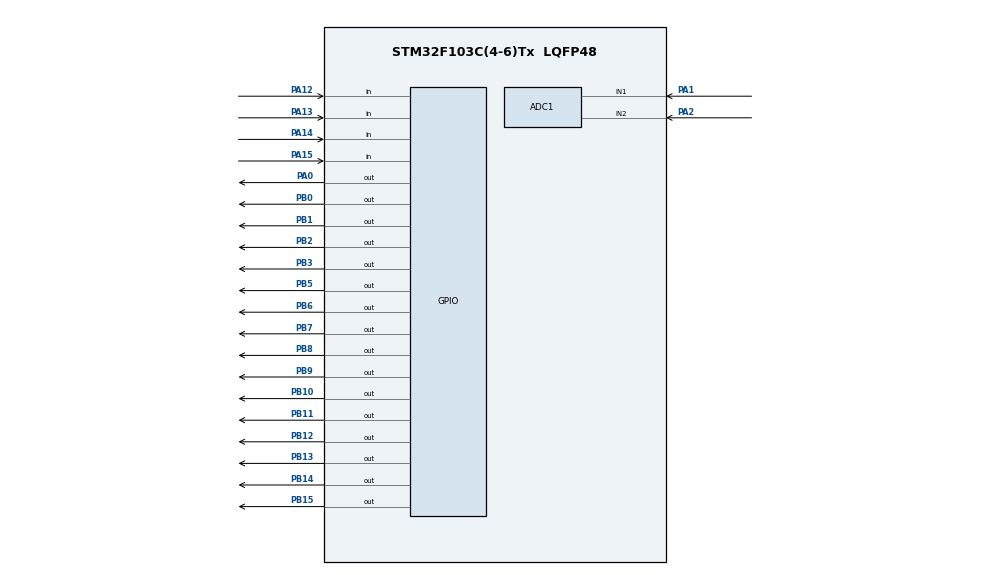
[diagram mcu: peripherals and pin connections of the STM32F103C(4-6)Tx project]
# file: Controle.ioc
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ADC1.Channel-0\#ChannelRegularConversion=ADC_CHANNEL_1
ADC1.Channel-1\#ChannelRegularConversion=ADC_CHANNEL_2
ADC1.ContinuousConvMode=ENABLE
ADC1.NbrOfConversion=2
ADC1.NbrOfConversionFlag=1
ADC1.Rank-0\#ChannelRegularConversion=1
ADC1.Rank-1\#ChannelRegularConversion=2
ADC1.SamplingTime-0\#ChannelRegularConversion=ADC_SAMPLETIME_1CYCLE_5
ADC1.SamplingTime-1\#ChannelRegularConversion=ADC_SAMPLETIME_1CYCLE_5
ADC1.master=1
Mcu.Family=STM32F1
Mcu.Name=STM32F103C(4-6)Tx
Mcu.Package=LQFP48
NVIC.PriorityGroup=NVIC_PRIORITYGROUP_4
PA0-WKUP.Signal=GPIO_Output
PA1.Signal=ADCx_IN1
PA12.Signal=GPIO_Input
PA13.Signal=GPIO_Input
PA14.Signal=GPIO_Input
PA15.Signal=GPIO_Input
PA2.Signal=ADCx_IN2
PB0.Signal=GPIO_Output
PB1.Signal=GPIO_Output
PB10.Signal=GPIO_Output
PB11.Signal=GPIO_Output
PB12.Signal=GPIO_Output
PB13.Signal=GPIO_Output
PB14.Signal=GPIO_Output
PB15.Signal=GPIO_Output
PB2.Signal=GPIO_Output
PB3.Signal=GPIO_Output
PB5.Signal=GPIO_Output
PB6.Signal=GPIO_Output
PB7.Signal=GPIO_Output
PB8.Signal=GPIO_Output
PB9.Signal=GPIO_Output
ProjectManager.HeapSize=0x200
ProjectManager.StackSize=0x400
ProjectManager.TargetToolchain=STM32CubeIDE
RCC.APB1Freq_Value=8000000
RCC.APB2Freq_Value=8000000
SH.ADCx_IN1.0=ADC1_IN1,IN1
SH.ADCx_IN2.0=ADC1_IN2,IN2
VP_SYS_VS_ND.Mode=No_Debug
board=custom

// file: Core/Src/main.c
/* USER CODE BEGIN Header */
/**
  ******************************************************************************
  * @file           : main.c
  * @brief          : Main program body
  ******************************************************************************
  * @attention
  *
  * Copyright (c) 2022 STMicroelectronics.
  * All rights reserved.
  *
  * This software is licensed under terms that can be found in the LICENSE file
  * in the root directory of this software component.
  * If no LICENSE file comes with this software, it is provided AS-IS.
  *
  ******************************************************************************
  */
/* USER CODE END Header */
#include "main.h"

/* USER CODE BEGIN Includes */
#include "LCD.h"
#include "pressao.h"
#include "keypad.h"
#include <stdio.h>
/* USER CODE END Includes */

ADC_HandleTypeDef hadc1;

/* USER CODE BEGIN PV */
void ADC_Select_CH1(void);
void ADC_Select_CH2(void);
float getTemperatura();
float getADC1_IN1();
/* USER CODE END PV */

void SystemClock_Config(void);
static void MX_GPIO_Init(void);
static void MX_ADC1_Init(void);

/* USER CODE BEGIN 0 */
//extern void setRow(int);
//extern int readColumn(int);
//extern int readKey(int, int);
/* USER CODE END 0 */

int main(void)
{
  /* USER CODE BEGIN 1 */
	  char *key;
	  float h = 2;
	  int d;
	  float pressao;
	  float temperatura;
	  float h0;
	  float p;
	  int l = 0;
  /* USER CODE END 1 */

  /* MCU Configuration--------------------------------------------------------*/

  /* Reset of all peripherals, Initializes the Flash interface and the Systick. */
  HAL_Init();

  /* Configure the system clock */
  SystemClock_Config();

  /* Initialize all configured peripherals */
  MX_GPIO_Init();
  MX_ADC1_Init();
  /* USER CODE BEGIN 2 */
  LCD_Init();
  HAL_Delay(50);
  LCD_Clear();
  float adc;
  LCD_SendTextPos("  Reservatorio  ", 0, 0);
  //LCD_SendTextPos("    de Agua     ", 1, 0);
  /* USER CODE END 2 */

  /* Infinite loop */
  while (1)
  {

    /* USER CODE BEGIN 3 */
	  key = readKeypad();

	  LCD_SendTextPos(key, 0, 0);

	  adc = getADC1_IN1();
      pressao = getPressao(adc);
	  temperatura = getTemperatura();
	  d = getDensidade(temperatura);
	  h0 = getAltura(pressao, d);
	  p = getCapacidade(h, h0);
	  LCD_SendTextPos("Nivel:", 2, 0);
	  LCD_NumFloat(p, 2, 9);
	  LCD_SendText(" %");
	  LCD_SendTextPos("Densi.:", 1, 0);
	  LCD_NumFloat(d, 1, 9);
	  if(p>95){
		  if(HAL_GPIO_ReadPin(GPIOA, GPIO_PIN_0)==1){
			  HAL_GPIO_TogglePin(GPIOA, GPIO_PIN_0);
			  LCD_SendTextPos("Desligando Bomba", 3, 0);
			  HAL_Delay(200);
			  LCD_SendTextPos("                ", 3, 0);
		  }
	  }else{
		  if(HAL_GPIO_ReadPin(GPIOA, GPIO_PIN_0)==0){
			  HAL_GPIO_TogglePin(GPIOA, GPIO_PIN_0);
			  l = 1;
		  }
	  }
	  if(l==1){
		  LCD_SendTextPos("Nivel baixo!", 3, 2);
		  HAL_Delay(200);
		  LCD_SendTextPos("Ligando Bomba!", 3, 1);
		  HAL_Delay(200);
		  LCD_SendTextPos("                ", 3, 0);
		  l = 0;
	  }
  }
  /* USER CODE END 3 */
}

void SystemClock_Config(void)
{
  RCC_OscInitTypeDef RCC_OscInitStruct = {0};
  RCC_ClkInitTypeDef RCC_ClkInitStruct = {0};
  RCC_PeriphCLKInitTypeDef PeriphClkInit = {0};

  /** Initializes the RCC Oscillators according to the specified parameters
  * in the RCC_OscInitTypeDef structure.
  */
  RCC_OscInitStruct.OscillatorType = RCC_OSCILLATORTYPE_HSI;
  RCC_OscInitStruct.HSIState = RCC_HSI_ON;
  RCC_OscInitStruct.HSICalibrationValue = RCC_HSICALIBRATION_DEFAULT;
  RCC_OscInitStruct.PLL.PLLState = RCC_PLL_NONE;
  if (HAL_RCC_OscConfig(&RCC_OscInitStruct) != HAL_OK)
  {
    Error_Handler();
  }
  /** Initializes the CPU, AHB and APB buses clocks
  */
  RCC_ClkInitStruct.ClockType = RCC_CLOCKTYPE_HCLK|RCC_CLOCKTYPE_SYSCLK
                              |RCC_CLOCKTYPE_PCLK1|RCC_CLOCKTYPE_PCLK2;
  RCC_ClkInitStruct.SYSCLKSource = RCC_SYSCLKSOURCE_HSI;
  RCC_ClkInitStruct.AHBCLKDivider = RCC_SYSCLK_DIV1;
  RCC_ClkInitStruct.APB1CLKDivider = RCC_HCLK_DIV1;
  RCC_ClkInitStruct.APB2CLKDivider = RCC_HCLK_DIV1;

  if (HAL_RCC_ClockConfig(&RCC_ClkInitStruct, FLASH_LATENCY_0) != HAL_OK)
  {
    Error_Handler();
  }
  PeriphClkInit.PeriphClockSelection = RCC_PERIPHCLK_ADC;
  PeriphClkInit.AdcClockSelection = RCC_ADCPCLK2_DIV2;
  if (HAL_RCCEx_PeriphCLKConfig(&PeriphClkInit) != HAL_OK)
  {
    Error_Handler();
  }
}

static void MX_ADC1_Init(void)
{

  ADC_ChannelConfTypeDef sConfig = {0};

  /** Common config
  */
  hadc1.Instance = ADC1;
  hadc1.Init.ScanConvMode = ADC_SCAN_ENABLE;
  hadc1.Init.ContinuousConvMode = ENABLE;
  hadc1.Init.DiscontinuousConvMode = DISABLE;
  hadc1.Init.ExternalTrigConv = ADC_SOFTWARE_START;
  hadc1.Init.DataAlign = ADC_DATAALIGN_RIGHT;
  hadc1.Init.NbrOfConversion = 2;
  if (HAL_ADC_Init(&hadc1) != HAL_OK)
  {
    Error_Handler();
  }
  /** Configure Regular Channel
  */
  sConfig.Channel = ADC_CHANNEL_1;
  sConfig.Rank = ADC_REGULAR_RANK_1;
  sConfig.SamplingTime = ADC_SAMPLETIME_1CYCLE_5;
  if (HAL_ADC_ConfigChannel(&hadc1, &sConfig) != HAL_OK)
  {
    Error_Handler();
  }
  /** Configure Regular Channel
  */
  sConfig.Channel = ADC_CHANNEL_2;
  sConfig.Rank = ADC_REGULAR_RANK_2;
  if (HAL_ADC_ConfigChannel(&hadc1, &sConfig) != HAL_OK)
  {
    Error_Handler();
  }

}

static void MX_GPIO_Init(void)
{
  GPIO_InitTypeDef GPIO_InitStruct = {0};

  /* GPIO Ports Clock Enable */
  __HAL_RCC_GPIOA_CLK_ENABLE();
  __HAL_RCC_GPIOB_CLK_ENABLE();

  /*Configure GPIO pin Output Level */
  HAL_GPIO_WritePin(GPIOA, GPIO_PIN_0, GPIO_PIN_RESET);

  /*Configure GPIO pin Output Level */
  HAL_GPIO_WritePin(GPIOB, GPIO_PIN_0|GPIO_PIN_1|GPIO_PIN_2|GPIO_PIN_10
                          |GPIO_PIN_11|GPIO_PIN_12|GPIO_PIN_13|GPIO_PIN_14
                          |GPIO_PIN_15|GPIO_PIN_3|GPIO_PIN_5|GPIO_PIN_6
                          |GPIO_PIN_7|GPIO_PIN_8|GPIO_PIN_9, GPIO_PIN_RESET);

  /*Configure GPIO pin : PA0 */
  GPIO_InitStruct.Pin = GPIO_PIN_0;
  GPIO_InitStruct.Mode = GPIO_MODE_OUTPUT_PP;
  GPIO_InitStruct.Pull = GPIO_NOPULL;
  GPIO_InitStruct.Speed = GPIO_SPEED_FREQ_LOW;
  HAL_GPIO_Init(GPIOA, &GPIO_InitStruct);

  /*Configure GPIO pins : PB0 PB1 PB2 PB10
                           PB11 PB12 PB13 PB14
                           PB15 PB3 PB5 PB6
                           PB7 PB8 PB9 */
  GPIO_InitStruct.Pin = GPIO_PIN_0|GPIO_PIN_1|GPIO_PIN_2|GPIO_PIN_10
                          |GPIO_PIN_11|GPIO_PIN_12|GPIO_PIN_13|GPIO_PIN_14
                          |GPIO_PIN_15|GPIO_PIN_3|GPIO_PIN_5|GPIO_PIN_6
                          |GPIO_PIN_7|GPIO_PIN_8|GPIO_PIN_9;
  GPIO_InitStruct.Mode = GPIO_MODE_OUTPUT_PP;
  GPIO_InitStruct.Pull = GPIO_NOPULL;
  GPIO_InitStruct.Speed = GPIO_SPEED_FREQ_LOW;
  HAL_GPIO_Init(GPIOB, &GPIO_InitStruct);

  /*Configure GPIO pins : PA12 PA13 PA14 PA15 */
  GPIO_InitStruct.Pin = GPIO_PIN_12|GPIO_PIN_13|GPIO_PIN_14|GPIO_PIN_15;
  GPIO_InitStruct.Mode = GPIO_MODE_INPUT;
  GPIO_InitStruct.Pull = GPIO_NOPULL;
  HAL_GPIO_Init(GPIOA, &GPIO_InitStruct);

}

/* USER CODE BEGIN 4 */
void ADC_Select_CH1(void){
	ADC_ChannelConfTypeDef sConfig = {0};
	sConfig.Channel = ADC_CHANNEL_1;
	sConfig.Rank = ADC_REGULAR_RANK_1;
	sConfig.SamplingTime = ADC_SAMPLETIME_1CYCLE_5;
	if (HAL_ADC_ConfigChannel(&hadc1, &sConfig) != HAL_OK)
	{
	  Error_Handler();
	}
}

void ADC_Select_CH2(void){
	ADC_ChannelConfTypeDef sConfig = {0};
	sConfig.Channel = ADC_CHANNEL_2;
	sConfig.Rank = ADC_REGULAR_RANK_1;
	sConfig.SamplingTime = ADC_SAMPLETIME_1CYCLE_5;
	if (HAL_ADC_ConfigChannel(&hadc1, &sConfig) != HAL_OK)
	{
	  Error_Handler();
	}
}

/*
 * @author Juan Porto
 * @brief Calcula a temperatura de acordo com o valor lido pelo ADC
 * @retval temperatura em graus celsius
 */

float getTemperatura(){
	float temp;
	uint16_t adcval;
	int t;
	ADC_Select_CH2();
	HAL_ADC_Start(&hadc1);
	if((HAL_ADC_PollForConversion(&hadc1, 1000000)) == HAL_OK){
	adcval = HAL_ADC_GetValue(&hadc1);
	t = ((adcval)*3.3);
	temp = (int)t/26.8;
	}
	HAL_ADC_Stop(&hadc1);
	return temp;
}

/*
 * @brief Pega o valor lido pelo ADC1 IN1
 * @retval valor do ADC1 IN1
 */

float getADC1_IN1(){
	float x;
	ADC_Select_CH1();
	HAL_ADC_Start(&hadc1);
	HAL_ADC_PollForConversion(&hadc1, HAL_MAX_DELAY);
	x = HAL_ADC_GetValue(&hadc1);
	HAL_ADC_Stop(&hadc1);
	return x;
}
/* USER CODE END 4 */

void Error_Handler(void)
{
  __disable_irq();
  while (1)
  {
  }
}
